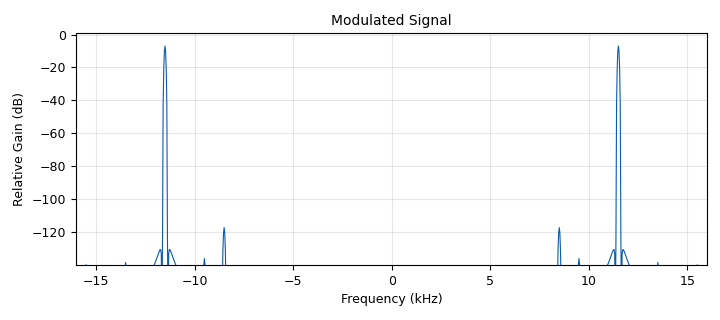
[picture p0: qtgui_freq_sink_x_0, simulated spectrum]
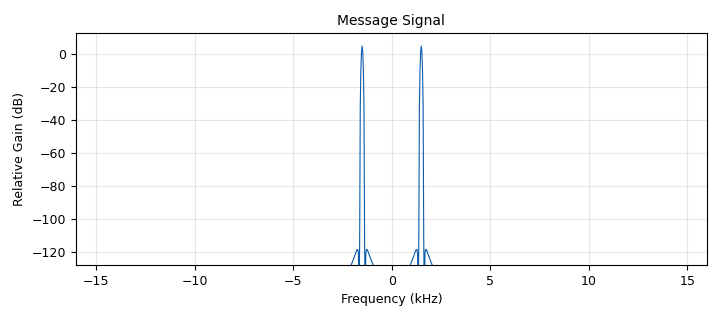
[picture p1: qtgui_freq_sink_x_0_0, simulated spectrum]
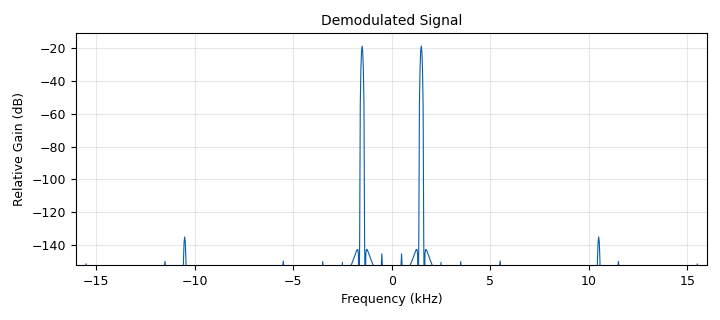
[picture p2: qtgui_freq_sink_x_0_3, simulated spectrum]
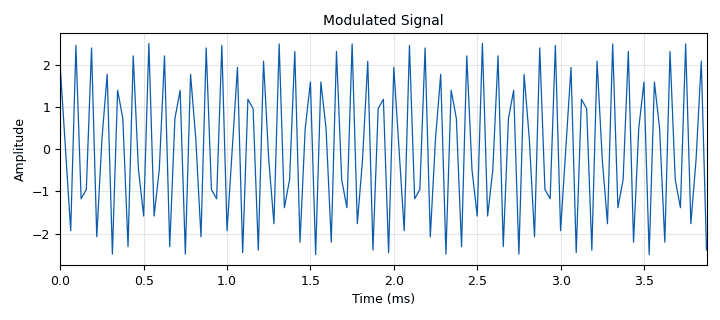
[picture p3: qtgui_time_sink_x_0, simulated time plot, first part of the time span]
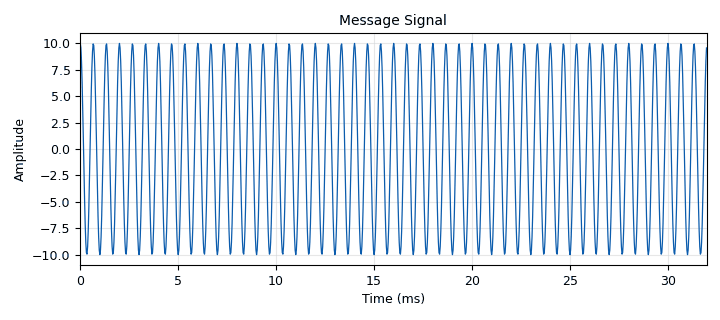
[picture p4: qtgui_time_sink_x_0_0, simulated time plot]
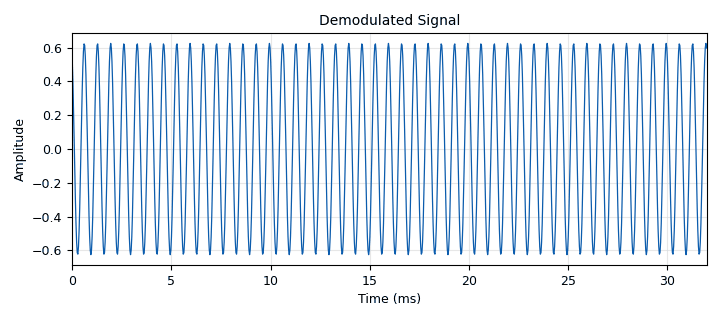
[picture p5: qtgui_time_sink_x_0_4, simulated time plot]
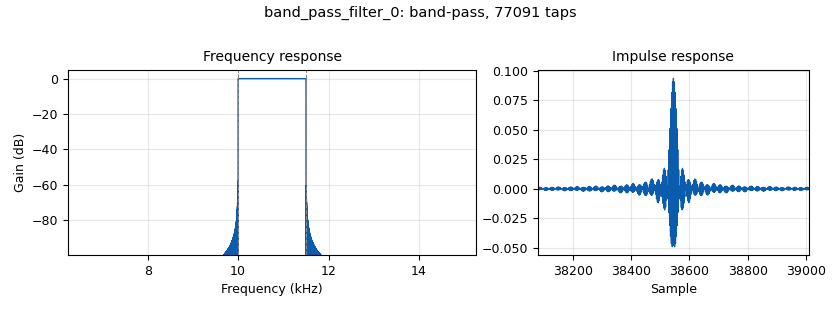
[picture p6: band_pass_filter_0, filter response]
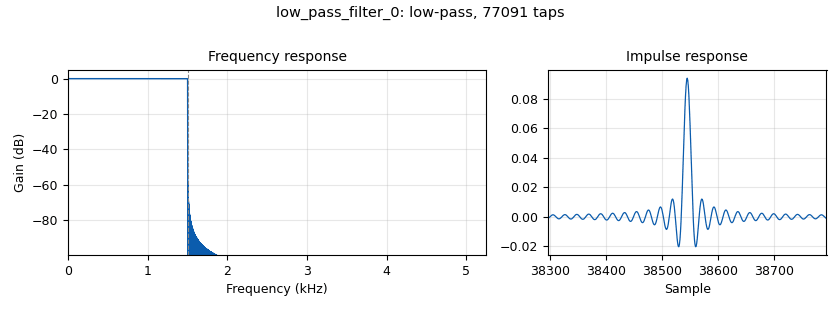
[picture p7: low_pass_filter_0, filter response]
options:
  parameters:
    author: shashank
    generate_options: qt_gui
    id: ssb_sc_frequency_discrimination
    output_language: python
    title: ssb_sc_frequency_discrimination
  states: {}

blocks:
- name: carrier_amplitude
  id: variable
  parameters:
    value: msg_amplitude/mu
  states: {}
- name: fc
  id: variable
  parameters:
    value: '10000'
  states: {}
- name: fm
  id: variable
  parameters:
    value: '1500'
  states: {}
- name: msg_amplitude
  id: variable
  parameters:
    value: '10'
  states: {}
- name: mu
  id: variable
  parameters:
    value: '10'
  states: {}
- name: samp_rate
  id: variable
  parameters:
    value: '32000'
  states: {}
- name: analog_sig_source_x_0
  id: analog_sig_source_x
  parameters:
    amp: msg_amplitude
    freq: fm
    offset: '0'
    phase: '0'
    samp_rate: samp_rate
    type: float
    waveform: analog.GR_COS_WAVE
  states: {}
- name: analog_sig_source_x_0_0
  id: analog_sig_source_x
  parameters:
    amp: carrier_amplitude
    freq: fc
    offset: '0'
    phase: '0'
    samp_rate: samp_rate
    type: float
    waveform: analog.GR_COS_WAVE
  states: {}
- name: analog_sig_source_x_1_0
  id: analog_sig_source_x
  parameters:
    amp: carrier_amplitude
    freq: fc
    offset: '0'
    phase: '0'
    samp_rate: samp_rate
    type: float
    waveform: analog.GR_COS_WAVE
  states: {}
- name: band_pass_filter_0
  id: band_pass_filter
  parameters:
    alias: USB
    gain: '1'
    high_cutoff_freq: fc+fm
    interp: '1'
    low_cutoff_freq: fc
    samp_rate: samp_rate
    type: interp_fir_filter_fff
    width: '1'
    win: firdes.WIN_HAMMING
  states: {}
- name: band_pass_filter_0_0
  id: band_pass_filter
  parameters:
    alias: LSB
    gain: '1'
    high_cutoff_freq: fc
    interp: '1'
    low_cutoff_freq: fc-fm
    samp_rate: samp_rate
    type: interp_fir_filter_fff
    width: '1'
    win: firdes.WIN_HAMMING
  states: {state: disabled}
- name: blocks_multiply_xx_0
  id: blocks_multiply_xx
  parameters:
    type: float
  states: {}
- name: blocks_multiply_xx_1
  id: blocks_multiply_xx
  parameters:
    type: float
  states: {}
- name: blocks_throttle_0
  id: blocks_throttle
  parameters:
    samples_per_second: samp_rate
    type: float
  states: {}
- name: low_pass_filter_0
  id: low_pass_filter
  parameters:
    cutoff_freq: fm
    decim: '1'
    gain: '1'
    samp_rate: samp_rate
    type: fir_filter_fff
    width: '1'
    win: firdes.WIN_HAMMING
  states: {}
- name: qtgui_freq_sink_x_0
  id: qtgui_freq_sink_x
  parameters:
    autoscale: 'True'
    bw: samp_rate
    ctrlpanel: 'True'
    fc: '0'
    fftsize: '1024'
    grid: 'True'
    name: '"Modulated Signal"'
    type: float
    wintype: firdes.WIN_BLACKMAN_hARRIS
  states: {}
- name: qtgui_freq_sink_x_0_0
  id: qtgui_freq_sink_x
  parameters:
    autoscale: 'True'
    bw: samp_rate
    ctrlpanel: 'True'
    fc: '0'
    fftsize: '1024'
    grid: 'True'
    name: '"Message Signal"'
    type: float
    wintype: firdes.WIN_BLACKMAN_hARRIS
  states: {}
- name: qtgui_freq_sink_x_0_3
  id: qtgui_freq_sink_x
  parameters:
    autoscale: 'True'
    bw: samp_rate
    ctrlpanel: 'True'
    fc: '0'
    fftsize: '1024'
    grid: 'True'
    name: '"Demodulated Signal"'
    type: float
    wintype: firdes.WIN_BLACKMAN_hARRIS
  states: {}
- name: qtgui_time_sink_x_0
  id: qtgui_time_sink_x
  parameters:
    autoscale: 'True'
    ctrlpanel: 'True'
    grid: 'True'
    name: '"Modulated Signal"'
    size: '1024'
    srate: samp_rate
    type: float
  states: {}
- name: qtgui_time_sink_x_0_0
  id: qtgui_time_sink_x
  parameters:
    autoscale: 'True'
    ctrlpanel: 'True'
    grid: 'True'
    name: '"Message Signal"'
    size: '1024'
    srate: samp_rate
    type: float
  states: {}
- name: qtgui_time_sink_x_0_4
  id: qtgui_time_sink_x
  parameters:
    autoscale: 'True'
    ctrlpanel: 'True'
    grid: 'True'
    name: '"Demodulated Signal"'
    size: '1024'
    srate: samp_rate
    type: float
  states: {}

connections:
- [analog_sig_source_x_0, '0', blocks_multiply_xx_0, '0']
- [analog_sig_source_x_0, '0', qtgui_freq_sink_x_0_0, '0']
- [analog_sig_source_x_0, '0', qtgui_time_sink_x_0_0, '0']
- [analog_sig_source_x_0_0, '0', blocks_multiply_xx_0, '1']
- [analog_sig_source_x_1_0, '0', blocks_multiply_xx_1, '1']
- [band_pass_filter_0, '0', blocks_throttle_0, '0']
- [band_pass_filter_0_0, '0', blocks_throttle_0, '0']
- [blocks_multiply_xx_0, '0', band_pass_filter_0, '0']
- [blocks_multiply_xx_0, '0', band_pass_filter_0_0, '0']
- [blocks_multiply_xx_1, '0', low_pass_filter_0, '0']
- [blocks_throttle_0, '0', blocks_multiply_xx_1, '0']
- [blocks_throttle_0, '0', qtgui_freq_sink_x_0, '0']
- [blocks_throttle_0, '0', qtgui_time_sink_x_0, '0']
- [low_pass_filter_0, '0', qtgui_freq_sink_x_0_3, '0']
- [low_pass_filter_0, '0', qtgui_time_sink_x_0_4, '0']

metadata:
  file_format: 1
